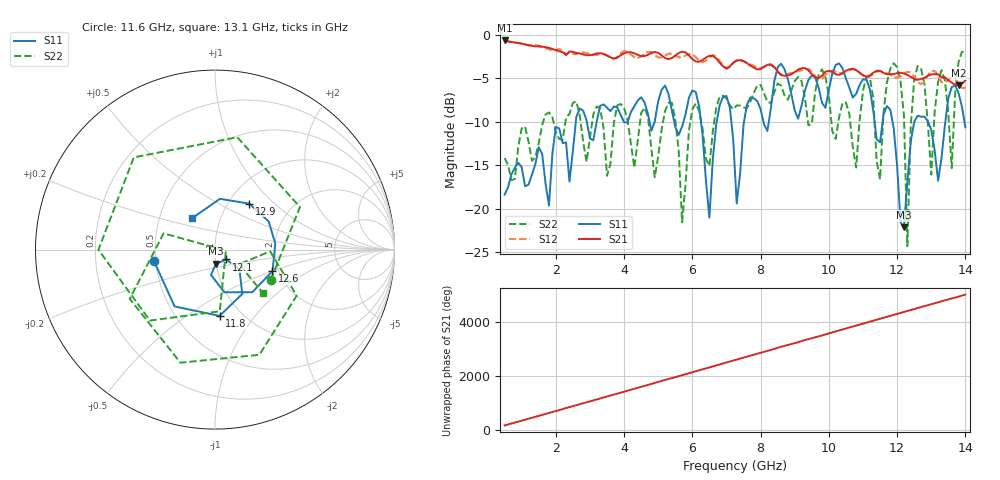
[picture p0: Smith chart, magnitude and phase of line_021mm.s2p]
!Created with skrf (http://scikit-rf.org).
# GHz S RI R 50.0
!freq ReS11 ImS11 ReS21 ImS21 ReS12 ImS12 ReS22 ImS22
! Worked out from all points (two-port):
!   136 points, 500 MHz to 14 GHz, reference 50 ohm
!   highest |S21| = -0.68 dB at 500 MHz (marker M1); lowest = -5.8 dB at 13.8 GHz (marker M2)
!   |S21| within 3 dB of the highest: start of sweep to 6.911 GHz; 7.084 GHz to 7.75 GHz (665.6 MHz wide, 8.97 % of centre)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
!   lowest |S11| = -22.1 dB at 12.2 GHz (marker M3), VSWR 1.17, Z = 49.9 - j7.86 ohm
!   |S11| at or under -10 dB: start of sweep to 2.587 GHz; 6.253 GHz to 6.714 GHz (461.2 MHz wide, 7.11 % of centre); 11.86 GHz to 12.5 GHz (638.7 MHz wide, 5.24 % of centre)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
!   |S22| runs from -24.3 to -2.0 dB; largest |S21 - S12| = 0.059
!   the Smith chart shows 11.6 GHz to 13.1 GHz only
!   S11 on the Smith chart (normalised r, x): 11.6 GHz: 0.49, -0.07; 11.8 GHz: 0.79, -0.68; 12.1 GHz: 1.13, -0.13; 12.6 GHz: 1.85, -0.51; 12.9 GHz: 1.24, +0.71; 13.1 GHz: 0.73, +0.27
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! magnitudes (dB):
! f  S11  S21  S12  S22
! 500 MHz  -18.4  -0.7  -0.7  -14.2
! 2.8 GHz  -8.7  -2.3  -2.0  -12.3
! 5 GHz  -7.6  -2.1  -2.6  -14.0
! 5.4 GHz  -8.7  -2.7  -2.2  -7.8
! 5.7 GHz  -10.6  -2.0  -2.6  -21.5
! 6.1 GHz  -6.6  -3.1  -2.6  -7.9
! 6.5 GHz  -21.0  -2.4  -2.6  -15.1
! 7 GHz  -7.1  -3.9  -3.9  -7.4
! 7.3 GHz  -19.4  -3.0  -3.0  -8.1
! 7.7 GHz  -7.2  -3.6  -3.5  -7.7
! 9.5 GHz  -4.7  -4.5  -4.3  -10.3
! 11.6 GHz  -9.2  -4.4  -4.3  -9.0
! 11.8 GHz  -8.6  -4.6  -4.6  -3.9
! 12.1 GHz  -21.5  -4.4  -4.8  -5.4
! 12.2 GHz  -22.1  -4.5  -4.5  -9.3
! 12.3 GHz  -16.9  -4.6  -4.3  -24.3
! 12.6 GHz  -9.3  -5.2  -5.5  -3.6
! 12.9 GHz  -9.9  -4.7  -4.7  -10.2
! 13.1 GHz  -13.3  -4.5  -4.2  -8.8
! 13.6 GHz  -6.0  -5.5  -4.9  -15.3
! 13.8 GHz  -6.7  -5.8  -5.6  -3.2
! 14 GHz  -10.6  -5.3  -6.2  -2.1
